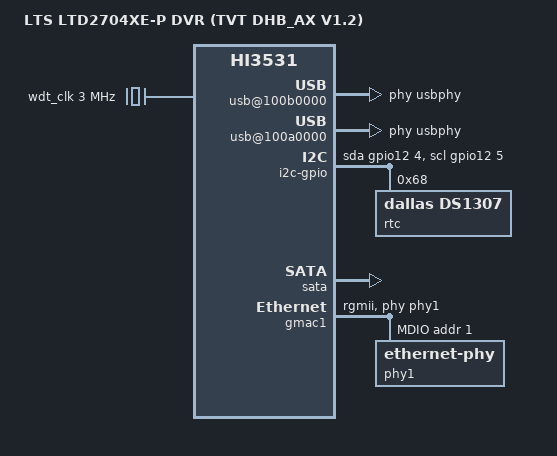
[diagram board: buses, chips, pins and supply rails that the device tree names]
// SPDX-License-Identifier: GPL-2.0-only
/*
 * Minimal bring-up plus GMAC1 Ethernet and a watchdog restart
 * method.  Everything else stays disabled.
 */
/dts-v1/;

#include <dt-bindings/gpio/gpio.h>
#include "hi3531-dhb-ax.dtsi"

/ {
	model = "LTS LTD2704XE-P DVR (TVT DHB_AX V1.2)";

	/*
	 * The watchdog counts at about 3 MHz, measured on hardware as
	 * 92,260,365 ticks over 30.60 s; that is 24 MHz / 8, the same slow
	 * source U-Boot leaves the UART on.  Describing it as the 155 MHz
	 * peripheral clock made the driver compute a load value that
	 * overflowed 32 bits, clamp to 0xFFFFFFFF, and take roughly 47
	 * minutes to reset instead of the 60 s it was asked for.
	 */
	wdt_clk: clock-3mhz {
		compatible = "fixed-clock";
		#clock-cells = <0>;
		clock-frequency = <3000000>;
		clock-output-names = "hi3531-wdt";
	};

	aliases {
		ethernet0 = &gmac1;
	};
};

&soc {
	/*
	 * USB 2.0 PHY.  Both windows are shared with other peripherals, so the
	 * driver maps without claiming: 0x20030000 is the CRG the Ethernet and
	 * SATA glue also use, and 0x20050000 the system controller behind
	 * reboot and SMP.
	 */
	usbphy: usb-phy@200300b8 {
		compatible = "hisilicon,hi3531-usb-phy";
		reg = <0x20030000 0x00000100>,
		      <0x20050000 0x00000100>;
		reg-names = "crg", "sysctrl";
		#phy-cells = <0>;
	};

	/*
	 * Stock EHCI and OHCI.  The vendor runs the same mainline drivers
	 * under a thin wrapper, so the only board-specific part is the PHY
	 * above; the USB core initialises it from the phys property and
	 * refcounts it across both controllers, which is what the vendor's
	 * open-count in hiusb-godnet.c did by hand.
	 *
	 * Interrupts are from the vendor runtime probe, not inferred:
	 * ehci_hcd is SPI 31 and ohci_hcd SPI 32.
	 */
	usb@100b0000 {
		compatible = "generic-ehci";
		reg = <0x100b0000 0x10000>;
		interrupts = <GIC_SPI 31 IRQ_TYPE_LEVEL_HIGH>;
		phys = <&usbphy>;
		phy-names = "usb";
	};

	usb@100a0000 {
		compatible = "generic-ohci";
		reg = <0x100a0000 0x10000>;
		interrupts = <GIC_SPI 32 IRQ_TYPE_LEVEL_HIGH>;
		phys = <&usbphy>;
		phy-names = "usb";
	};


	/*
	 * Nineteen GPIO banks.  Identified as ARM PL061 by reading the
	 * PrimeCell ID registers on bank 0 (part 0x061), so the mainline
	 * driver applies unchanged.  No interrupt is described: the vendor
	 * registers none, and the driver simply logs "IRQ support disabled"
	 * and continues to allow reads and writes.
	 *
	 * Banks whose clock is gated will fail to identify on the AMBA bus and
	 * will not bind, which is a useful way of finding out which are live.
	 */
	gpio0: gpio@20150000 {
		compatible = "arm,pl061", "arm,primecell";
		reg = <0x20150000 0x1000>;
		gpio-controller;
		#gpio-cells = <2>;
		clocks = <&peripheral_clk>;
		clock-names = "apb_pclk";
	};

	gpio1: gpio@20160000 {
		compatible = "arm,pl061", "arm,primecell";
		reg = <0x20160000 0x1000>;
		gpio-controller;
		#gpio-cells = <2>;
		clocks = <&peripheral_clk>;
		clock-names = "apb_pclk";
	};

	gpio2: gpio@20170000 {
		compatible = "arm,pl061", "arm,primecell";
		reg = <0x20170000 0x1000>;
		gpio-controller;
		#gpio-cells = <2>;
		clocks = <&peripheral_clk>;
		clock-names = "apb_pclk";
	};

	gpio3: gpio@20180000 {
		compatible = "arm,pl061", "arm,primecell";
		reg = <0x20180000 0x1000>;
		gpio-controller;
		#gpio-cells = <2>;
		clocks = <&peripheral_clk>;
		clock-names = "apb_pclk";
	};

	gpio4: gpio@20190000 {
		compatible = "arm,pl061", "arm,primecell";
		reg = <0x20190000 0x1000>;
		gpio-controller;
		#gpio-cells = <2>;
		clocks = <&peripheral_clk>;
		clock-names = "apb_pclk";
	};

	gpio5: gpio@201a0000 {
		compatible = "arm,pl061", "arm,primecell";
		reg = <0x201a0000 0x1000>;
		gpio-controller;
		#gpio-cells = <2>;
		clocks = <&peripheral_clk>;
		clock-names = "apb_pclk";
	};

	gpio6: gpio@201b0000 {
		compatible = "arm,pl061", "arm,primecell";
		reg = <0x201b0000 0x1000>;
		gpio-controller;
		#gpio-cells = <2>;
		clocks = <&peripheral_clk>;
		clock-names = "apb_pclk";
	};

	gpio7: gpio@201c0000 {
		compatible = "arm,pl061", "arm,primecell";
		reg = <0x201c0000 0x1000>;
		gpio-controller;
		#gpio-cells = <2>;
		clocks = <&peripheral_clk>;
		clock-names = "apb_pclk";
	};

	gpio8: gpio@201d0000 {
		compatible = "arm,pl061", "arm,primecell";
		reg = <0x201d0000 0x1000>;
		gpio-controller;
		#gpio-cells = <2>;
		clocks = <&peripheral_clk>;
		clock-names = "apb_pclk";
	};

	gpio9: gpio@201e0000 {
		compatible = "arm,pl061", "arm,primecell";
		reg = <0x201e0000 0x1000>;
		gpio-controller;
		#gpio-cells = <2>;
		clocks = <&peripheral_clk>;
		clock-names = "apb_pclk";
	};

	gpio10: gpio@201f0000 {
		compatible = "arm,pl061", "arm,primecell";
		reg = <0x201f0000 0x1000>;
		gpio-controller;
		#gpio-cells = <2>;
		clocks = <&peripheral_clk>;
		clock-names = "apb_pclk";
	};

	gpio11: gpio@20200000 {
		compatible = "arm,pl061", "arm,primecell";
		reg = <0x20200000 0x1000>;
		gpio-controller;
		#gpio-cells = <2>;
		clocks = <&peripheral_clk>;
		clock-names = "apb_pclk";
	};

	gpio12: gpio@20210000 {
		compatible = "arm,pl061", "arm,primecell";
		reg = <0x20210000 0x1000>;
		gpio-controller;
		#gpio-cells = <2>;
		clocks = <&peripheral_clk>;
		clock-names = "apb_pclk";
	};

	gpio13: gpio@20220000 {
		compatible = "arm,pl061", "arm,primecell";
		reg = <0x20220000 0x1000>;
		gpio-controller;
		#gpio-cells = <2>;
		clocks = <&peripheral_clk>;
		clock-names = "apb_pclk";
	};

	gpio14: gpio@20230000 {
		compatible = "arm,pl061", "arm,primecell";
		reg = <0x20230000 0x1000>;
		gpio-controller;
		#gpio-cells = <2>;
		clocks = <&peripheral_clk>;
		clock-names = "apb_pclk";
	};

	gpio15: gpio@20240000 {
		compatible = "arm,pl061", "arm,primecell";
		reg = <0x20240000 0x1000>;
		gpio-controller;
		#gpio-cells = <2>;
		clocks = <&peripheral_clk>;
		clock-names = "apb_pclk";
	};

	gpio16: gpio@20250000 {
		compatible = "arm,pl061", "arm,primecell";
		reg = <0x20250000 0x1000>;
		gpio-controller;
		#gpio-cells = <2>;
		clocks = <&peripheral_clk>;
		clock-names = "apb_pclk";
	};

	gpio17: gpio@20260000 {
		compatible = "arm,pl061", "arm,primecell";
		reg = <0x20260000 0x1000>;
		gpio-controller;
		#gpio-cells = <2>;
		clocks = <&peripheral_clk>;
		clock-names = "apb_pclk";
	};

	gpio18: gpio@20270000 {
		compatible = "arm,pl061", "arm,primecell";
		reg = <0x20270000 0x1000>;
		gpio-controller;
		#gpio-cells = <2>;
		clocks = <&peripheral_clk>;
		clock-names = "apb_pclk";
	};

	/*
	 * Bit-banged I2C, matching how the vendor reaches the DS1307.  Their
	 * gpioi2c module drives PL061 data bits 4 and 5 (offsets 0x40 and
	 * 0x80 in the address-masked data window) and sets both as outputs.
	 * Bank 12 is the only one of the nineteen whose direction register
	 * reads 0x30, and both pins sit high at rest, which is what an idle
	 * bus with pull-ups looks like.
	 *
	 * open-drain is required: I2C devices pull the line low and rely on
	 * the pull-up to return it high, so the controller must never drive
	 * high actively.
	 */
	i2c-gpio {
		compatible = "i2c-gpio";
		sda-gpios = <&gpio12 4 (GPIO_ACTIVE_HIGH | GPIO_OPEN_DRAIN)>;
		scl-gpios = <&gpio12 5 (GPIO_ACTIVE_HIGH | GPIO_OPEN_DRAIN)>;
		i2c-gpio,delay-us = <5>;   /* ~100 kHz */
		#address-cells = <1>;
		#size-cells = <0>;

		/*
		 * Battery-backed clock.  This, not the on-chip PL031, is what
		 * the vendor loads a driver for.  Address 0x68 is fixed for
		 * the DS1307 family.
		 */
		rtc@68 {
			compatible = "dallas,ds1307";
			reg = <0x68>;
		};
	};

	/*
	 * No PL031 node.  The block is present at 0x20060000 and the mainline
	 * driver binds to it, but the counter never advances and neither the
	 * control nor the load register accepts a write, which is how a
	 * clock-gated block behaves on this SoC.  The vendor ships hi_rtc.ko
	 * for it but never loads it: their init loads ds1307.ko instead, so
	 * real timekeeping on this board is an external DS1307 on the
	 * bit-banged I2C bus.  Wall-clock time therefore depends on GPIO-based
	 * I2C, not on this block.
	 */
	/*
	 * SP805 watchdog, WDG_BASE from the vendor platform.h.  Used as a
	 * deadman during risky bring-up: it only starts when userspace opens
	 * /dev/watchdog, and U-Boot stops it at boot ("dog_close").  The
	 * interrupt number is unknown and the driver does not need it.
	 */
	watchdog@20040000 {
		compatible = "arm,sp805", "arm,primecell";
		reg = <0x20040000 0x1000>;
		clocks = <&wdt_clk>, <&peripheral_clk>;
		clock-names = "wdog_clk", "apb_pclk";
	};

	/*
	 * SATA bring-up.  SATA_BASE comes from the vendor
	 * mach-godnet/include/mach/platform.h; the controller is AHCI with
	 * two ports at the usual 0x100 + n * 0x80 stride.
	 *
	 * The interrupt is inferred, not read from a header: the vendor
	 * kernel reports "irq 68" for ata1/ata2 and its GODNET_IRQ_START is
	 * 32, giving SPI 36.  The same arithmetic gives the GMAC's SPI 87,
	 * which is confirmed working, but nothing here has been validated on
	 * hardware yet.
	 *
	 * The second reg window is the shared peripheral CRG; the glue driver
	 * needs it for the SATA clock and reset bits at 0xb4.  ports-implemented
	 * is not overridden any more: once the clocks are on, the controller
	 * reports 0x3 by itself.
	 */
	sata: sata@10080000 {
		compatible = "hisilicon,hi3531-ahci";
		reg = <0x10080000 0x00010000>,
		      <0x20030000 0x00000100>;
		reg-names = "ahci", "syscfg";
		interrupts = <GIC_SPI 36 IRQ_TYPE_LEVEL_HIGH>;
	};

	/*
	 * reg[0] spans the whole shared block: GMAC0 at +0x0, GMAC1 at
	 * +0x4000, the three DMA channels at +0x1000/+0x1100/+0x1200, and
	 * the TNK interrupt aggregator at +0x9000.  reg[1] is the CRG
	 * window holding the GMAC interface reset and mode registers.  The
	 * Synopsys ID is 3.60, for which upstream has no exact compatible;
	 * verified capabilities are selected explicitly by the Hi3531 glue.
	 */
	gmac1: ethernet@101c0000 {
		compatible = "hisilicon,hi3531-dwmac", "snps,dwmac";
		reg = <0x101c0000 0x00020000>,
		      <0x20030000 0x00000100>;
		reg-names = "stmmaceth", "syscfg";
		interrupts = <GIC_SPI 87 IRQ_TYPE_LEVEL_HIGH>;
		interrupt-names = "macirq";
		clocks = <&peripheral_clk>;
		clock-names = "stmmaceth";
		phy-mode = "rgmii";
		phy-handle = <&phy1>;
		max-speed = <1000>;
		local-mac-address = [00 18 ae 3c a2 49];
		/*
		 * Depths are informational here: dwmac1000 ignores the FIFO
		 * size when setting the DMA operation mode.
		 */
		tx-fifo-depth = <8192>;
		rx-fifo-depth = <8192>;
		snps,pbl = <16>;
		snps,no-pbl-x8;

		/*
		 * No snps,force_sf_dma_mode.  The vendor driver enables TX
		 * store-and-forward only when TX checksum insertion is on,
		 * and otherwise runs TX in threshold mode with RX
		 * store-and-forward.  Forcing TX store-and-forward with COE
		 * disabled wedges the TX DMA once a burst exceeds a few
		 * frames: the engine sticks in "reading data from host
		 * memory" and never completes, with no underflow, no bus
		 * error and no transmit timeout reported.
		 */

		mdio {
			compatible = "snps,dwmac-mdio";
			#address-cells = <1>;
			#size-cells = <0>;

			phy1: ethernet-phy@1 {
				reg = <1>;
			};
		};
	};
};
